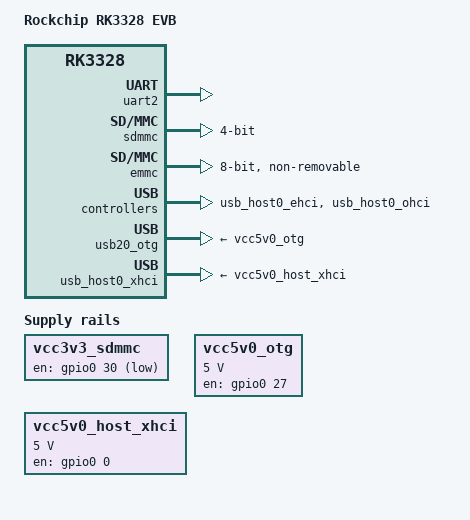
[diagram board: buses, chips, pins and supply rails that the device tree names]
/*
 * (C) Copyright 2016 Rockchip Electronics Co., Ltd
 *
 * SPDX-License-Identifier:     GPL-2.0+
 */

/dts-v1/;
#include "rk3328.dtsi"

/ {
	model = "Rockchip RK3328 EVB";
	compatible = "rockchip,rk3328-evb", "rockchip,rk3328";

	chosen {
		stdout-path = &uart2;
	};

	vcc3v3_sdmmc: sdmmc-pwren {
		compatible = "regulator-fixed";
		regulator-name = "vcc3v3";
		gpio = <&gpio0 30 GPIO_ACTIVE_LOW>;
		regulator-always-on;
		regulator-boot-on;
	};

	vcc5v0_otg: vcc5v0-otg-drv {
		compatible = "regulator-fixed";
		enable-active-high;
		regulator-name = "vcc5v0_otg";
		gpio = <&gpio0 27 GPIO_ACTIVE_HIGH>;
		regulator-min-microvolt = <5000000>;
		regulator-max-microvolt = <5000000>;
	};

	vcc5v0_host_xhci: vcc5v0-host-xhci-drv {
		compatible = "regulator-fixed";
		enable-active-high;
		regulator-name = "vcc5v0_host_xhci";
		gpio = <&gpio0 0 GPIO_ACTIVE_HIGH>;
		regulator-min-microvolt = <5000000>;
		regulator-max-microvolt = <5000000>;
	};
};

&uart2 {
	status = "okay";
};

&sdmmc {
	bus-width = <4>;
	cap-mmc-highspeed;
	cap-sd-highspeed;
	card-detect-delay = <200>;
	disable-wp;
	num-slots = <1>;
	pinctrl-names = "default";
	pinctrl-0 = <&sdmmc0_clk>, <&sdmmc0_cmd>, <&sdmmc0_dectn>, <&sdmmc0_bus4>;
	status = "okay";
};

&emmc {
	bus-width = <8>;
	cap-mmc-highspeed;
	supports-emmc;
	disable-wp;
	non-removable;
	num-slots = <1>;
	pinctrl-names = "default";
	pinctrl-0 = <&emmc_clk &emmc_cmd &emmc_bus8>;
	status = "okay";
};

&usb_host0_ehci {
	status = "okay";
};

&usb_host0_ohci {
	status = "okay";
};

&usb20_otg {
	vbus-supply = <&vcc5v0_otg>;
	status = "okay";
};

&usb_host0_xhci {
	vbus-supply = <&vcc5v0_host_xhci>;
	status = "okay";
};
